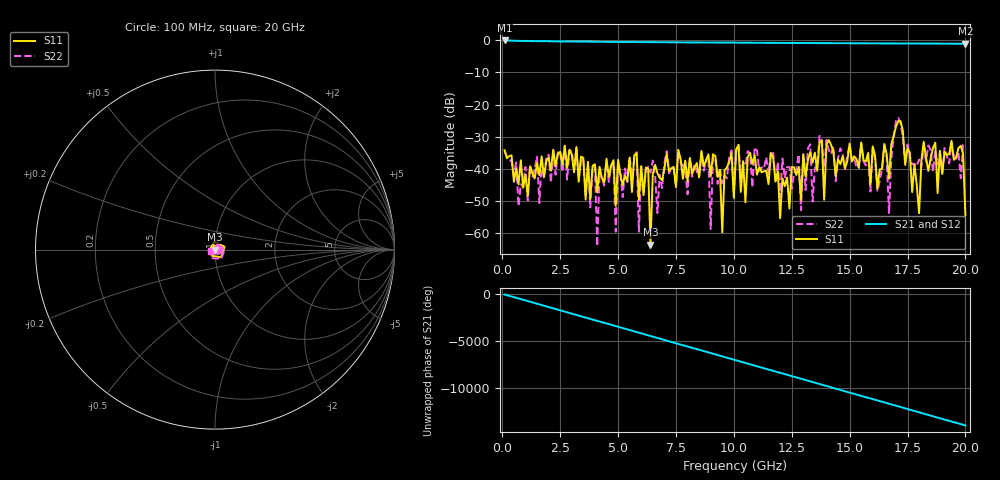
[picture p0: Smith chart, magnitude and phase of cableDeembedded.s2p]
# MHz MA S R 50.0
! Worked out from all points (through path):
!   200 points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, 100 MHz to 20 GHz, reference 50 ohm
!   highest |S21| = -0.06 dB at 100 MHz (marker M1); lowest = -1.1 dB at 20 GHz (marker M2)
!   lowest |S11| = -63.6 dB at 6.4 GHz (marker M3), VSWR 1.00, Z = 50.1 + j0.00601 ohm
!   |S11| at or under -10 dB: start of sweep to end of sweep
!   |S22| runs from -64.1 to -24.2 dB; largest |S21 - S12| = 0.002
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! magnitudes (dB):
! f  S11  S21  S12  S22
! 100 MHz  -34.2  -0.1  -0.1  -34.5
! 3.5 GHz  -36.6  -0.4  -0.4  -37.5
! 4 GHz  -38.6  -0.4  -0.5  -39.3
! 4.1 GHz  -47.3  -0.5  -0.5  -64.1
! 4.2 GHz  -39.4  -0.5  -0.5  -40.9
! 4.9 GHz  -51.6  -0.5  -0.5  -59.6
! 5.8 GHz  -35.2  -0.6  -0.6  -34.8
! 5.9 GHz  -49.7  -0.6  -0.6  -59.6
! 6.3 GHz  -39.9  -0.6  -0.6  -39.4
! 6.4 GHz  -63.6  -0.6  -0.6  -41.2
! 6.8 GHz  -42.8  -0.6  -0.6  -41.9
! 8.9 GHz  -35.5  -0.7  -0.7  -36.1
! 9 GHz  -42.4  -0.7  -0.7  -58.7
! 9.2 GHz  -36.0  -0.7  -0.7  -36.6
! 9.5 GHz  -59.8  -0.7  -0.7  -44.6
! 10.1 GHz  -34.1  -0.7  -0.7  -34.0
! 13.4 GHz  -38.1  -0.9  -0.9  -50.2
! 13.7 GHz  -31.8  -0.9  -0.9  -29.7
! 16.7 GHz  -43.1  -1.0  -1.0  -53.8
! 17.1 GHz  -25.1  -1.0  -1.0  -24.2
! 19.8 GHz  -32.8  -1.1  -1.1  -42.9
! 20 GHz  -54.5  -1.1  -1.1  -32.2
